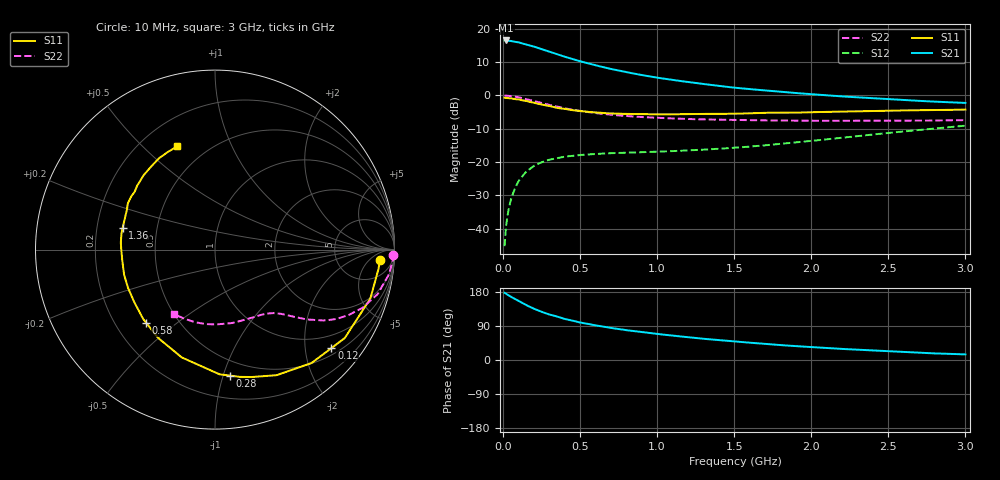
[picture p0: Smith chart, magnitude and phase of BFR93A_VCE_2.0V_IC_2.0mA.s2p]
! Infineon Technologies  Discrete & RF Semiconductors
! BFR93A
! VCE =  2.0 V,  IC =  2.0 mA
! Common Emitter S-Parameters:  Nov 2015
# GHz  S  MA  R  50
!  f  S11  S21  S12  S22
! GHz  MAG  ANG  MAG  ANG  MAG  ANG  MAG  ANG
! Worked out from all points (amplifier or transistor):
!   180 points, 10 MHz to 3 GHz, reference 50 ohm
!   highest |S21| = 16.5 dB at 20 MHz (marker M1)
!   |S21| within 3 dB of that: start of sweep to 276.8 MHz
!   unconditionally stable (mu >= 1): 977.7 MHz to end of sweep
!   at 160 MHz: K = 0.20, MSG = 18.8 dB, |S12| = -22.5 dB
!   at 1.22 GHz: K = 1.13, MAG = 8.0 dB, |S12| = -16.4 dB
!   at 3 GHz: K = 1.01, MAG = 3.0 dB, |S12| = -9.1 dB
!   S11 on the Smith chart (normalised r, x): 10 MHz: 16, -12; 120 MHz: 0.66, -2.59; 280 MHz: 0.38, -1.05; 580 MHz: 0.33, -0.39; 1.36 GHz: 0.31, +0.10; 3 GHz: 0.35, +0.64
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0.01  0.9217 -3.5  6.664 177.3  0.0055 88.3  0.9944 -1.6
0.02  0.9169 -6.9  6.666 174.7  0.011 85.3  0.9927 -3.2
0.035  0.9083 -12.2  6.597 170.9  0.019 81.5  0.9852 -5.6
0.05  0.9075 -17.5  6.558 167.0  0.027 79.9  0.9795 -8.0
0.1  0.8749 -34.3  6.247 155.7  0.0516 71.0  0.9396 -15.3
0.12  0.8496 -40.2  6.049 151.5  0.0594 66.9  0.916 -17.7
0.15  0.8298 -49.6  5.819 144.7  0.0716 62.5  0.8839 -21.5
0.2  0.7793 -63.9  5.396 135.4  0.0876 56.2  0.8267 -26.3
0.24  0.7388 -73.9  5.027 128.8  0.0971 51.4  0.7823 -29.5
0.28  0.7069 -83.2  4.693 123.0  0.105 47.9  0.741 -32.0
0.3  0.6954 -87.9  4.539 120.1  0.1087 46.4  0.721 -33.2
0.4  0.6287 -107.1  3.803 108.3  0.1208 40.3  0.6397 -37.4
0.52  0.5771 -125.4  3.161 97.5  0.129 36.0  0.5756 -40.5
0.58  0.5598 -133.2  2.906 93.0  0.1318 34.7  0.551 -41.8
0.7  0.537 -146.7  2.493 84.5  0.1362 33.5  0.5133 -44.2
0.8  0.5295 -156.1  2.231 78.7  0.1385 33.4  0.491 -46.2
1.02  0.5201 -172.9  1.816 67.9  0.1441 34.9  0.4597 -50.8
1.36  0.5287 166.9  1.426 53.8  0.1567 40.2  0.4343 -59.9
1.52  0.5328 159.5  1.294 48.2  0.1655 43.0  0.4267 -64.9
2.02  0.562 139.9  1.037 33.6  0.2102 49.7  0.417 -82.1
2.52  0.5908 123.9  0.873 22.7  0.2768 50.6  0.4183 -101.4
3  0.6126 110.1  0.772 14.8  0.3517 46.9  0.4261 -122.4
